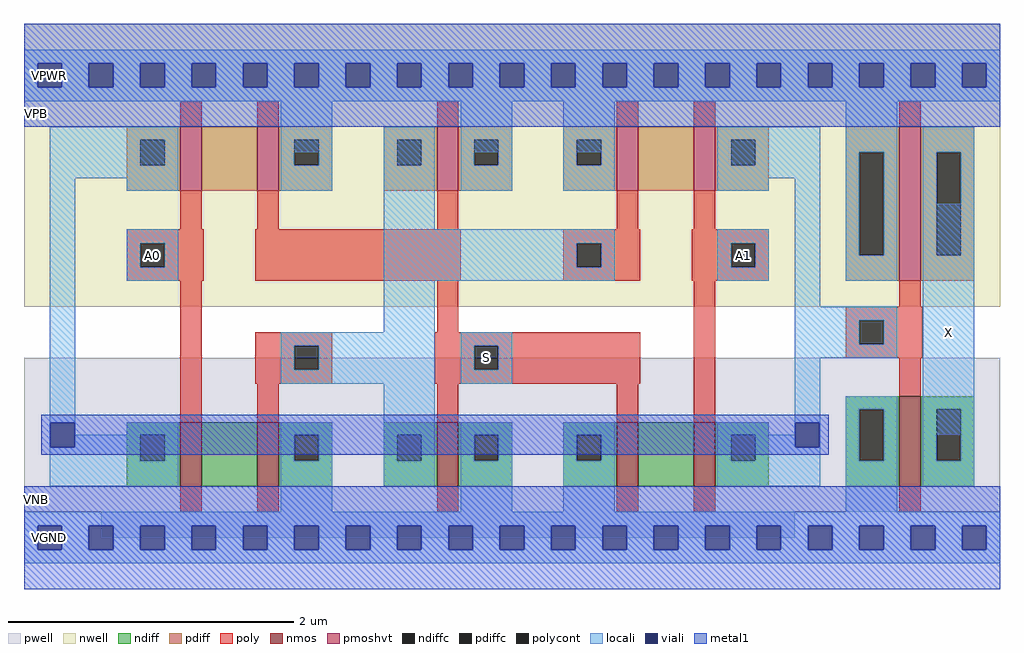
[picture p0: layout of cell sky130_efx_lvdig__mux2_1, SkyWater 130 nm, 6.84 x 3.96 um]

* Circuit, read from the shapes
.subckt sky130_efx_lvdig__mux2_1 A0 A1 S X VGND VPWR VPB VNB
XM1 n1 A0 n2 VNB sky130_fd_pr__nfet_01v8 w=0.45 l=0.15
XM2 VGND n3 n1 VNB sky130_fd_pr__nfet_01v8 w=0.45 l=0.15
XM3 VGND S n3 VNB sky130_fd_pr__nfet_01v8 w=0.45 l=0.15
XM4 n4 S VGND VNB sky130_fd_pr__nfet_01v8 w=0.45 l=0.15
XM5 n2 A1 n4 VNB sky130_fd_pr__nfet_01v8 w=0.45 l=0.15
XM6 X n2 VGND VNB sky130_fd_pr__nfet_01v8 w=0.63 l=0.15
XM7 n5 A0 n2 VPB sky130_fd_pr__pfet_01v8_hvt w=0.45 l=0.15
XM8 VPWR S n5 VPB sky130_fd_pr__pfet_01v8_hvt w=0.45 l=0.15
XM9 VPWR S n3 VPB sky130_fd_pr__pfet_01v8_hvt w=0.45 l=0.15
XM10 n6 n3 VPWR VPB sky130_fd_pr__pfet_01v8_hvt w=0.45 l=0.15
XM11 n2 A1 n6 VPB sky130_fd_pr__pfet_01v8_hvt w=0.45 l=0.15
XM12 X n2 VPWR VPB sky130_fd_pr__pfet_01v8_hvt w=1.08 l=0.15
.ends

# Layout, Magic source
magic
tech sky130A
magscale 1 2
<< nwell >>
rect 0 288 1368 684
<< pwell >>
rect 0 0 1368 216
<< poly >>
rect 219 396 249 450
rect 327 396 357 450
rect 579 396 609 450
rect 831 396 861 450
rect 939 396 969 450
rect 144 377 252 396
rect 144 343 163 377
rect 197 343 252 377
rect 144 324 252 343
rect 324 324 612 396
rect 756 377 864 396
rect 756 343 775 377
rect 809 343 864 377
rect 756 324 864 343
rect 936 377 1044 396
rect 936 343 991 377
rect 1025 343 1044 377
rect 936 324 1044 343
rect 219 126 249 324
rect 579 252 609 324
rect 324 233 432 252
rect 324 199 379 233
rect 413 199 432 233
rect 324 180 432 199
rect 576 233 864 252
rect 576 199 631 233
rect 665 199 864 233
rect 576 180 864 199
rect 327 126 357 180
rect 579 126 609 180
rect 831 126 861 180
rect 939 126 969 324
rect 1152 269 1260 288
rect 1152 235 1171 269
rect 1205 235 1260 269
rect 1152 216 1260 235
<< polycont >>
rect 163 343 197 377
rect 775 343 809 377
rect 991 343 1025 377
rect 379 199 413 233
rect 631 199 665 233
rect 1171 235 1205 269
<< locali >>
rect 0 629 1368 648
rect 0 595 19 629
rect 53 595 91 629
rect 125 595 163 629
rect 197 595 235 629
rect 269 595 307 629
rect 341 595 379 629
rect 413 595 451 629
rect 485 595 523 629
rect 557 595 595 629
rect 629 595 667 629
rect 701 595 739 629
rect 773 595 811 629
rect 845 595 883 629
rect 917 595 955 629
rect 989 595 1027 629
rect 1061 595 1099 629
rect 1133 595 1171 629
rect 1205 595 1243 629
rect 1277 595 1315 629
rect 1349 595 1368 629
rect 0 576 1368 595
rect 36 468 216 540
rect 360 504 432 576
rect 36 125 72 468
rect 504 396 576 540
rect 612 504 684 576
rect 756 504 828 576
rect 972 468 1116 540
rect 1152 504 1224 576
rect 144 377 216 396
rect 144 343 163 377
rect 197 343 216 377
rect 144 324 216 343
rect 504 377 828 396
rect 504 343 775 377
rect 809 343 828 377
rect 504 324 828 343
rect 972 377 1044 396
rect 972 343 991 377
rect 1025 343 1044 377
rect 972 324 1044 343
rect 504 252 576 324
rect 1080 288 1116 468
rect 1080 269 1224 288
rect 360 233 576 252
rect 360 199 379 233
rect 413 199 576 233
rect 360 180 576 199
rect 612 233 684 252
rect 612 199 631 233
rect 665 199 684 233
rect 612 180 684 199
rect 1080 235 1171 269
rect 1205 235 1224 269
rect 1080 216 1224 235
rect 36 91 37 125
rect 71 108 72 125
rect 71 91 216 108
rect 36 36 216 91
rect 360 0 432 72
rect 504 36 576 180
rect 1080 125 1116 216
rect 1080 108 1081 125
rect 972 91 1081 108
rect 1115 91 1116 125
rect 1260 108 1332 432
rect 612 0 684 72
rect 756 0 828 72
rect 972 36 1116 91
rect 1152 0 1224 72
rect 0 -19 1368 0
rect 0 -53 19 -19
rect 53 -53 91 -19
rect 125 -53 163 -19
rect 197 -53 235 -19
rect 269 -53 307 -19
rect 341 -53 379 -19
rect 413 -53 451 -19
rect 485 -53 523 -19
rect 557 -53 595 -19
rect 629 -53 667 -19
rect 701 -53 739 -19
rect 773 -53 811 -19
rect 845 -53 883 -19
rect 917 -53 955 -19
rect 989 -53 1027 -19
rect 1061 -53 1099 -19
rect 1133 -53 1171 -19
rect 1205 -53 1243 -19
rect 1277 -53 1315 -19
rect 1349 -53 1368 -19
rect 0 -72 1368 -53
<< viali >>
rect 19 595 53 629
rect 91 595 125 629
rect 163 595 197 629
rect 235 595 269 629
rect 307 595 341 629
rect 379 595 413 629
rect 451 595 485 629
rect 523 595 557 629
rect 595 595 629 629
rect 667 595 701 629
rect 739 595 773 629
rect 811 595 845 629
rect 883 595 917 629
rect 955 595 989 629
rect 1027 595 1061 629
rect 1099 595 1133 629
rect 1171 595 1205 629
rect 1243 595 1277 629
rect 1315 595 1349 629
rect 37 91 71 125
rect 1081 91 1115 125
rect 19 -53 53 -19
rect 91 -53 125 -19
rect 163 -53 197 -19
rect 235 -53 269 -19
rect 307 -53 341 -19
rect 379 -53 413 -19
rect 451 -53 485 -19
rect 523 -53 557 -19
rect 595 -53 629 -19
rect 667 -53 701 -19
rect 739 -53 773 -19
rect 811 -53 845 -19
rect 883 -53 917 -19
rect 955 -53 989 -19
rect 1027 -53 1061 -19
rect 1099 -53 1133 -19
rect 1171 -53 1205 -19
rect 1243 -53 1277 -19
rect 1315 -53 1349 -19
<< metal1 >>
rect 0 629 1368 684
rect 0 595 19 629
rect 53 595 91 629
rect 125 595 163 629
rect 197 595 235 629
rect 269 595 307 629
rect 341 595 379 629
rect 413 595 451 629
rect 485 595 523 629
rect 557 595 595 629
rect 629 595 667 629
rect 701 595 739 629
rect 773 595 811 629
rect 845 595 883 629
rect 917 595 955 629
rect 989 595 1027 629
rect 1061 595 1099 629
rect 1133 595 1171 629
rect 1205 595 1243 629
rect 1277 595 1315 629
rect 1349 595 1368 629
rect 0 540 1368 595
rect 24 125 1128 136
rect 24 91 37 125
rect 71 91 1081 125
rect 1115 91 1128 125
rect 24 80 1128 91
rect 0 -19 1368 36
rect 0 -53 19 -19
rect 53 -53 91 -19
rect 125 -53 163 -19
rect 197 -53 235 -19
rect 269 -53 307 -19
rect 341 -53 379 -19
rect 413 -53 451 -19
rect 485 -53 523 -19
rect 557 -53 595 -19
rect 629 -53 667 -19
rect 701 -53 739 -19
rect 773 -53 811 -19
rect 845 -53 883 -19
rect 917 -53 955 -19
rect 989 -53 1027 -19
rect 1061 -53 1099 -19
rect 1133 -53 1171 -19
rect 1205 -53 1243 -19
rect 1277 -53 1315 -19
rect 1349 -53 1368 -19
rect 0 -108 1368 -53
use nmos_n2f5_f1_l150_ff_sp  nmos_n2f5_f1_l150_ff_sp_0
transform 1 0 540 0 1 36
box -72 -72 180 162
use nmos_n2f5_f2_l150_fnf_sp  nmos_n2f5_f2_l150_fnf_sp_0
transform 1 0 180 0 1 36
box -72 -72 288 162
use nmos_n2f5_f2_l150_fnf_sp  nmos_n2f5_f2_l150_fnf_sp_1
transform 1 0 792 0 1 36
box -72 -72 288 162
use nmos_n3f5_f1_l150  nmos_n3f5_f1_l150_0
transform 1 0 1188 0 1 36
box -72 -36 180 180
use pmos_n2f5_f1_l150_hvt_ff_sp  pmos_n2f5_f1_l150_hvt_ff_sp_0
transform 1 0 540 0 1 450
box -72 -72 180 162
use pmos_n2f5_f2_l150_hvt_fnf_sp  pmos_n2f5_f2_l150_hvt_fnf_sp_0
transform 1 0 180 0 1 450
box -72 -72 288 162
use pmos_n2f5_f2_l150_hvt_fnf_sp  pmos_n2f5_f2_l150_hvt_fnf_sp_1
transform 1 0 792 0 1 450
box -72 -72 288 162
use pmos_n6_f1_l150_hvt  pmos_n6_f1_l150_hvt_0
transform 1 0 1188 0 1 324
box -72 -36 180 252
<< labels >>
flabel locali 144 324 216 396 0 FreeSans 288 0 0 0 A0
port 1 nsew signal input
flabel locali 972 324 1044 396 0 FreeSans 288 0 0 0 A1
port 2 nsew signal input
flabel locali 612 180 684 252 0 FreeSans 288 0 0 0 S
port 3 nsew signal input
flabel locali 1260 216 1332 288 0 FreeSans 288 0 0 0 X
port 4 nsew signal output
flabel metal1 0 -72 72 0 0 FreeSans 288 0 0 0 VGND
port 5 nsew ground bidirectional
flabel metal1 0 576 72 648 0 FreeSans 288 0 0 0 VPWR
port 6 nsew power bidirectional
flabel nwell 0 540 36 576 0 FreeSans 288 0 0 0 VPB
port 7 nsew power bidirectional
flabel pwell 0 0 36 36 0 FreeSans 288 0 0 0 VNB
port 8 nsew ground bidirectional
<< properties >>
string FIXED_BBOX 0 -36 1368 612
<< end >>

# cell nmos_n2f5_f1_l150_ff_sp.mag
magic
tech sky130A
magscale 1 2
<< pwell >>
rect -72 -72 180 162
<< nmos >>
rect 39 0 69 90
<< ndiff >>
rect -36 72 39 90
rect -36 36 -17 72
rect 17 36 39 72
rect -36 0 39 36
rect 69 72 144 90
rect 69 36 91 72
rect 125 36 144 72
rect 69 0 144 36
<< ndiffc >>
rect -17 36 17 72
rect 91 36 125 72
<< poly >>
rect 39 90 69 126
rect 39 -36 69 0
<< locali >>
rect -36 72 36 90
rect -36 36 -17 72
rect 17 36 36 72
rect -36 0 36 36
rect 72 72 144 90
rect 72 36 91 72
rect 125 36 144 72
rect 72 0 144 36
<< end >>

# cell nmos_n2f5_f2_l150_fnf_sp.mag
magic
tech sky130A
magscale 1 2
<< pwell >>
rect -72 -72 288 162
<< nmos >>
rect 39 0 69 90
rect 147 0 177 90
<< ndiff >>
rect -36 72 39 90
rect -36 36 -17 72
rect 17 36 39 72
rect -36 0 39 36
rect 69 0 147 90
rect 177 72 252 90
rect 177 36 199 72
rect 233 36 252 72
rect 177 0 252 36
<< ndiffc >>
rect -17 36 17 72
rect 199 36 233 72
<< poly >>
rect 39 90 69 126
rect 147 90 177 126
rect 39 -36 69 0
rect 147 -36 177 0
<< locali >>
rect -36 72 36 90
rect -36 36 -17 72
rect 17 36 36 72
rect -36 0 36 36
rect 180 72 252 90
rect 180 36 199 72
rect 233 36 252 72
rect 180 0 252 36
<< end >>

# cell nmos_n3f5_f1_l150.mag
magic
tech sky130A
magscale 1 2
<< pwell >>
rect -72 -36 180 180
<< nmos >>
rect 39 0 69 126
<< ndiff >>
rect -36 108 39 126
rect -36 36 -17 108
rect 17 36 39 108
rect -36 0 39 36
rect 69 108 144 126
rect 69 36 91 108
rect 125 36 144 108
rect 69 0 144 36
<< ndiffc >>
rect -17 36 17 108
rect 91 36 125 108
<< poly >>
rect 39 126 69 180
rect 39 -36 69 0
<< locali >>
rect -36 108 36 126
rect -36 36 -17 108
rect 17 36 36 108
rect -36 0 36 36
rect 72 108 144 126
rect 72 36 91 108
rect 125 36 144 108
rect 72 0 144 36
<< labels >>
rlabel locali 0 18 0 18 0 S0
port 1 nsew
rlabel locali 108 18 108 18 0 D0
port 2 nsew
<< end >>

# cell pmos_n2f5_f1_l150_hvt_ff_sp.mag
magic
tech sky130A
magscale 1 2
<< nwell >>
rect -72 -72 180 162
<< pmoshvt >>
rect 39 0 69 90
<< pdiff >>
rect -36 72 39 90
rect -36 36 -17 72
rect 17 36 39 72
rect -36 0 39 36
rect 69 72 144 90
rect 69 36 91 72
rect 125 36 144 72
rect 69 0 144 36
<< pdiffc >>
rect -17 36 17 72
rect 91 36 125 72
<< poly >>
rect 39 90 69 126
rect 39 -36 69 0
<< locali >>
rect -36 72 36 90
rect -36 36 -17 72
rect 17 36 36 72
rect -36 0 36 36
rect 72 72 144 90
rect 72 36 91 72
rect 125 36 144 72
rect 72 0 144 36
<< end >>

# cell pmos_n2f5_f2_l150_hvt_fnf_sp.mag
magic
tech sky130A
magscale 1 2
<< nwell >>
rect -72 -72 288 162
<< pmoshvt >>
rect 39 0 69 90
rect 147 0 177 90
<< pdiff >>
rect -36 72 39 90
rect -36 36 -17 72
rect 17 36 39 72
rect -36 0 39 36
rect 69 0 147 90
rect 177 72 252 90
rect 177 36 199 72
rect 233 36 252 72
rect 177 0 252 36
<< pdiffc >>
rect -17 36 17 72
rect 199 36 233 72
<< poly >>
rect 39 90 69 126
rect 147 90 177 126
rect 39 -36 69 0
rect 147 -36 177 0
<< locali >>
rect -36 72 36 90
rect -36 36 -17 72
rect 17 36 36 72
rect -36 0 36 36
rect 180 72 252 90
rect 180 36 199 72
rect 233 36 252 72
rect 180 0 252 36
<< end >>

# cell pmos_n6_f1_l150_hvt: kit device pmos, n 6 fingers 1 length 0.15 butted 0 ltap 0 rtap 0 vt hvt tgate 0 bgate 0
